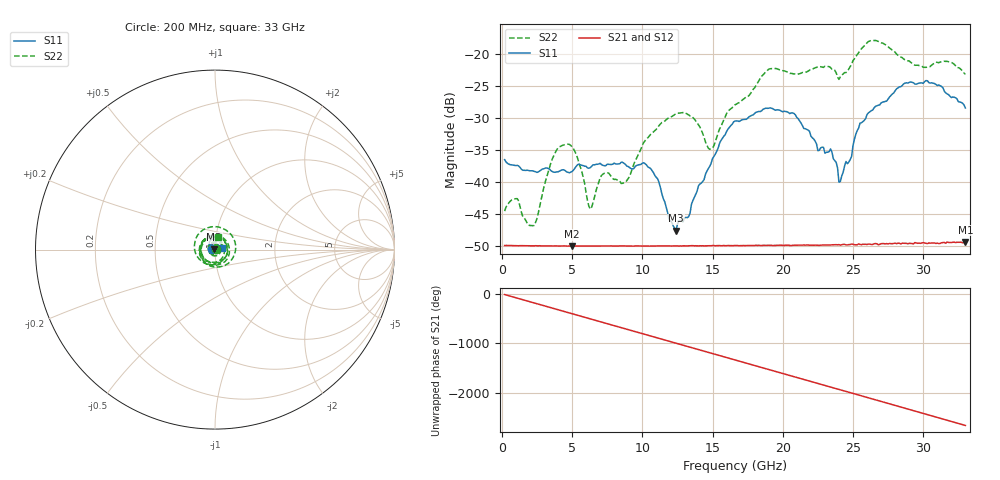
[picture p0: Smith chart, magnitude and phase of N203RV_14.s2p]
# GHZ S RI R 50
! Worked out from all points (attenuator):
!   329 points, 200 MHz to 33 GHz, reference 50 ohm
!   highest |S21| = -49.42 dB at 33 GHz (marker M1); lowest = -50.1 dB at 5 GHz (marker M2)
!   lowest |S11| = -47.6 dB at 12.4 GHz (marker M3), VSWR 1.01, Z = 49.6 + j0.116 ohm
!   |S11| at or under -10 dB: start of sweep to end of sweep
!   |S22| runs from -46.9 to -17.8 dB; largest |S21 - S12| = 7.2e-05
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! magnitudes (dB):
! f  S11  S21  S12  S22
! 200 MHz  -36.5  -50.0  -49.9  -44.6
! 1.1 GHz  -37.4  -50.0  -50.0  -42.6
! 2.3 GHz  -38.3  -50.0  -50.0  -46.8
! 3.8 GHz  -38.5  -50.1  -50.0  -35.4
! 5 GHz  -38.4  -50.1  -50.1  -34.5
! 5.7 GHz  -37.4  -50.0  -50.0  -38.4
! 6.3 GHz  -37.8  -50.1  -50.0  -44.3
! 7.1 GHz  -37.3  -50.1  -50.0  -39.0
! 8.8 GHz  -37.3  -50.1  -50.0  -40.1
! 11.2 GHz  -40.1  -50.0  -50.0  -31.2
! 12.4 GHz  -47.6  -50.0  -50.0  -29.3
! 13.6 GHz  -42.9  -50.0  -50.0  -29.9
! 14.8 GHz  -37.5  -50.0  -50.0  -34.9
! 16.6 GHz  -30.5  -50.0  -50.0  -27.9
! 19.1 GHz  -28.4  -50.0  -50.0  -22.3
! 22.1 GHz  -33.1  -49.9  -49.9  -22.3
! 23.4 GHz  -34.8  -49.9  -49.9  -22.1
! 24.1 GHz  -39.9  -49.9  -49.8  -23.5
! 25.5 GHz  -30.8  -49.8  -49.8  -19.4
! 27.6 GHz  -26.7  -49.7  -49.7  -19.0
! 30.2 GHz  -24.1  -49.6  -49.5  -22.0
! 33 GHz  -28.4  -49.4  -49.4  -23.1
